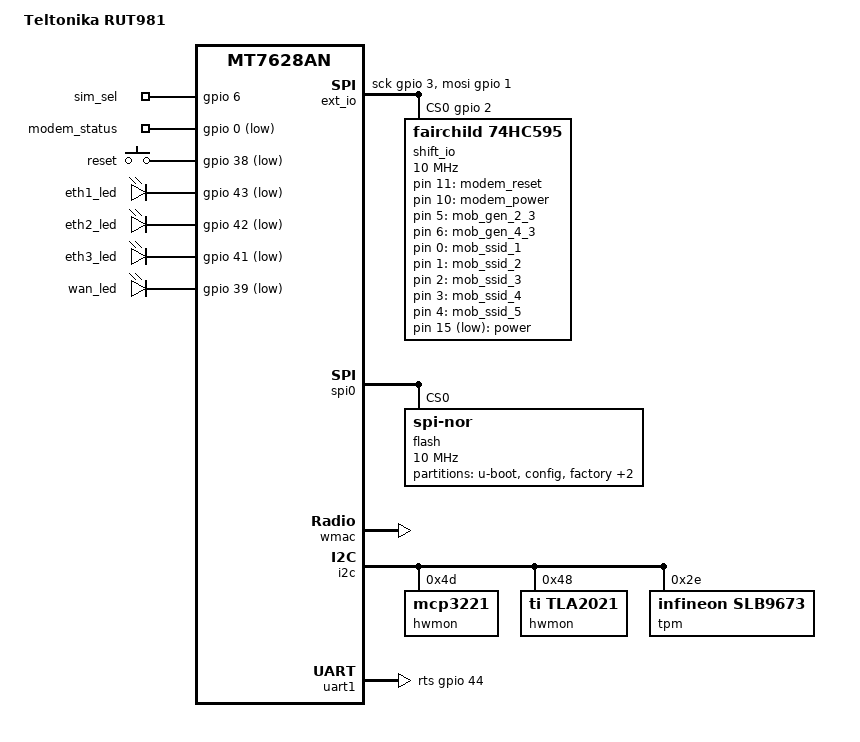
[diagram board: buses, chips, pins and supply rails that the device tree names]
// SPDX-License-Identifier: GPL-2.0-or-later OR MIT
/dts-v1/;

#include <dt-bindings/input/input.h>
#include <dt-bindings/gpio/gpio.h>
#include "mt7628an.dtsi"
#include "platform_name.dtsi"

/ {
	compatible = "teltonika,rut981", "teltonika,rute", "mediatek,mt7628an-soc";
	model = "Teltonika RUT981";

	chosen {
		bootargs = "console=ttyS0,115200 root=/dev/mtdblock5 is_full_hwver=1";
	};

	ext_io {
		compatible = "spi-gpio";
		#address-cells = <1>;
		#size-cells = <0>;

		gpio-sck = <&gpio 3 GPIO_ACTIVE_HIGH>;  // SRCLK
		gpio-mosi = <&gpio 1 GPIO_ACTIVE_HIGH>; // SER
		cs-gpios = <&gpio 2 GPIO_ACTIVE_HIGH>;  // RCLK
		num-chipselects = <1>;

		shift_io: shift_io@0 {
			compatible = "fairchild,74hc595";
			reg = <0>;
			gpio-controller;
			#gpio-cells = <2>;
			registers-number = <2>;
			spi-max-frequency = <10000000>;
		};
	};

	gpio-export {
		compatible = "gpio-export";
		#size-cells = <0>;

		gpio_modem_reset {
			gpio-export,name = "modem_reset";
			gpio-export,output = <0>;
			gpios = <&shift_io 11 GPIO_ACTIVE_HIGH>;
		};

		gpio_modem_power {
			gpio-export,name = "modem_power";
			gpio-export,output = <0>;
			gpios = <&shift_io 10 GPIO_ACTIVE_HIGH>;
		};

		gpio_sim_select {
			gpio-export,name = "sim_sel";
			gpio-export,output = <0>;
			gpios = <&gpio 6 GPIO_ACTIVE_HIGH>;
		};

		gpio_modem_status {
			gpio-export,name = "modem_status";
			gpio-export,input = <0>;
			gpios = <&gpio 0 GPIO_ACTIVE_LOW>;
		};
	};

	keys {
		compatible = "gpio-keys";

		reset {
			label = "reset";
			linux,code = <KEY_RESTART>;
			gpios = <&gpio 38 GPIO_ACTIVE_LOW>;
			debounce-interval = <60>;
		};
	};

	leds {
		compatible = "gpio-leds";

		eth1_led {
			label = "eth1_led";
			gpios = <&gpio 43 GPIO_ACTIVE_LOW>;
		};

		eth2_led {
			label = "eth2_led";
			gpios = <&gpio 42 GPIO_ACTIVE_LOW>;
		};

		eth3_led {
			label = "eth3_led";
			gpios = <&gpio 41 GPIO_ACTIVE_LOW>;
		};

		wan_led {
			label = "wan_led";
			gpios = <&gpio 39 GPIO_ACTIVE_LOW>;
		};

		led_gen_2_3 {
			label = "mob_gen_2_3";
			gpios = <&shift_io 5 GPIO_ACTIVE_HIGH>;
		};

		led_gen_4_3 {
			label = "mob_gen_4_3";
			gpios = <&shift_io 6 GPIO_ACTIVE_HIGH>;
		};

		led_ssid_1 {
			label = "mob_ssid_1";
			gpios = <&shift_io 0 GPIO_ACTIVE_HIGH>;
			linux,default-trigger = "timer";
		};

		led_ssid_2 {
			label = "mob_ssid_2";
			gpios = <&shift_io 1 GPIO_ACTIVE_HIGH>;
			linux,default-trigger = "timer";
		};

		led_ssid_3 {
			label = "mob_ssid_3";
			gpios = <&shift_io 2 GPIO_ACTIVE_HIGH>;
			linux,default-trigger = "timer";
		};

		led_ssid_4 {
			label = "mob_ssid_4";
			gpios = <&shift_io 3 GPIO_ACTIVE_HIGH>;
			linux,default-trigger = "timer";
		};

		led_ssid_5 {
			label = "mob_ssid_5";
			gpios = <&shift_io 4 GPIO_ACTIVE_HIGH>;
			linux,default-trigger = "timer";
		};

		led_power {
			label = "power";
			gpios = <&shift_io 15 GPIO_ACTIVE_LOW>;
			default-state = "on";
			retain-state-shutdown;
		};
	};

	tlt_gpios { // Modify according to wiki page "DTS syntax with Libgpiod changes"
		gpiochip_info {
			hw_0 {
				hwver = <0>;
				gpiochip_count = <4>;

				gpiochip_0 = <32>; // Built-in
				gpiochip_1 = <32>; // Built-in
				gpiochip_2 = <32>; // Built-in
				gpiochip_3 = <16>; // Shift Register
			};
		};

		ioman {
			GPIO_40 {
				line_name = "GPIO_IN_1";
				active_low;
			};
			GPIO_108 {
				line_name = "GPIO_OUT_1";
			};
		};

		misc { // shiftregs start at 96
			GPIO_0 {
				line_name = "GPIO_MODEM_STATUS";
				active_low;
			};
			GPIO_106 {
				line_name = "GPIO_MODEM_POWER_1";
			};
			GPIO_107 {
				line_name = "GPIO_MODEM_RESET_1";
			};
			GPIO_6 {
				line_name = "GPIO_SIM_SELECT";
			};
		};
	};

	ioman {
		layout@0 {
			io@0 { // 4pin #3
				label = "din1";
				block_type = BLOCK_4PIN;
				block_pin = "3";
				gpio_in = "GPIO_IN_1";
				io_param = "g0";
			};
			io@1 { // 4pin #4
				label = "dout1";
				block_type = BLOCK_4PIN;
				block_pin = "4";
				gpio_out = "GPIO_OUT_1";
				io_param = "g1";
			};
		};
	};
};

&mnfinfo {
	simpin1 {
		default = "";
		sec;
	};

	simpin2 {
		default = "";
		sec;
	};

	simpin3 {
		default = "";
		sec;
	};

	sim_cfg {
		default = "1111120_1112020_1121220";
		keep-sim-presence;
	};

	blver {
		reg = <&boot 0x3f000 0xa>;
		trailling-data;
	};
};

&state_default {
	gpio {
		groups = "i2s", "p4led_an", "p3led_an", "p2led_an", "p1led_an", "p0led_an", "gpio", "wled_an", "perst", "refclk", "spi cs1";
		function = "gpio";
	};
};

&spi0 {
	status = "okay";

	flash@0 {
		compatible = "jedec,spi-nor";
		reg = <0>;
		spi-max-frequency = <10000000>;

		partitions {
			compatible = "fixed-partitions";
			#address-cells = <1>;
			#size-cells = <1>;

			boot: partition@0 {
				label = "u-boot";
				reg = <0x0 0x40000>;
				read-only;
			};

			config: partition@40000 {
				compatible = "nvmem-cells";
				#address-cells = <1>;
				#size-cells = <1>;

				label = "config";
				reg = <0x040000 0x010000>;
				read-only;

				macaddr_config_0: macaddr@0 {
					reg = <0x0 0x6>;
				};
			};

			factory: partition@50000 {
				label = "factory";
				reg = <0x050000 0x030000>;
				read-only;
			};

			partition@80000 {
				label = "firmware";
				reg = <0x080000 0x1ED0000>;
			};

			partition@1F50000 {
				label = "event-log";
				reg = <0x1F50000 0xB0000>;
			};
		};
	};
};

&wmac {
	status = "okay";
	nvmem-cells = <&macaddr_config_0>;
	nvmem-cell-names = "mac-address";
	mac-address-increment = <2>;
	mediatek,mtd-eeprom = <&factory 0x20000>;
};

&ethernet {
	nvmem-cells = <&macaddr_config_0>;
	nvmem-cell-names = "mac-address";
};

&esw {
	mediatek,portmap = <0x2f>;
};

&i2c {
	status = "okay";
	hwmon@0x4d {
		compatible = "mcp3221";
		reg = <0x4d>;
		reference-voltage-microvolt = <3300000>;
	};

	hwmon@0x48 {
		compatible = "ti,tla2021";
		reg = <0x48>;
	};

	tpm@2e {
		compatible = "infineon,slb9673", "st,st33htpm-i2c";
		reg = <0x2e>;
		status = "okay";
	};
};

&uart1 {
	linux,rs485-enabled-at-boot-time;
	rs485-rts-delay = <0 0>;
	rs485-rx-during-tx;
	rts-gpios = <&gpio 44 GPIO_ACTIVE_HIGH>;
	status = "okay";
};
